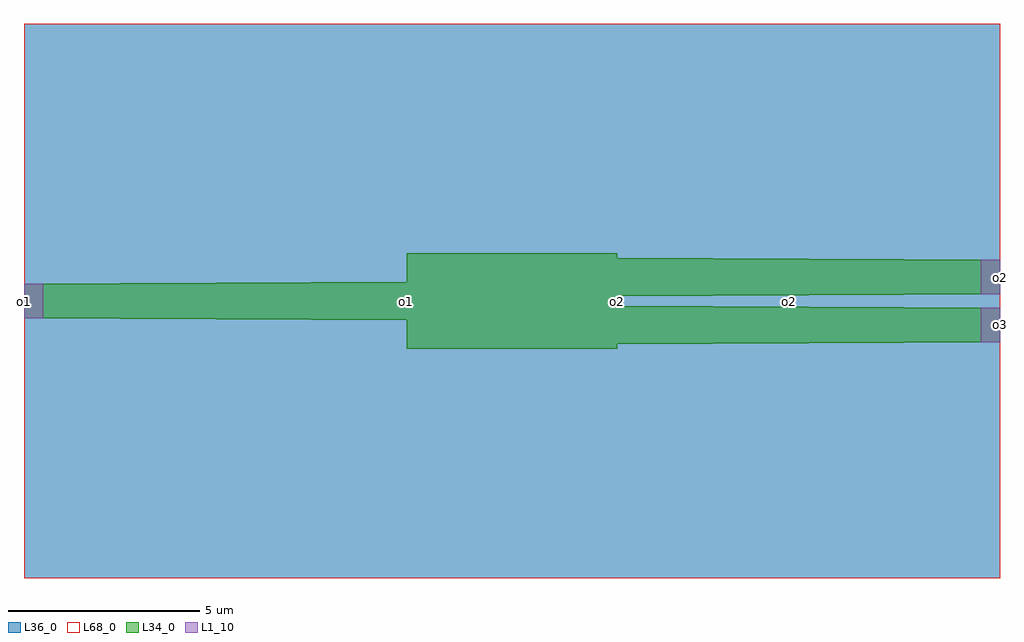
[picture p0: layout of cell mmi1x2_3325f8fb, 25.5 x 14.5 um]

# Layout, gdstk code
import gdstk
lib = gdstk.Library(unit=1e-6, precision=1e-09)
def R(c, l, rs):  # rectangles x0, y0, x1, y1
    for r in rs: c.add(gdstk.rectangle(r[:2], r[2:], *l))
def P(c, l, *ps):  # polygons
    for p in ps: c.add(gdstk.Polygon(p, *l))
L1_10 = (1, 10)
L34_0 = (34, 0)
L36_0 = (36, 0)
L68_0 = (68, 0)

mmi1x2_3325f8fb = lib.new_cell('mmi1x2_3325f8fb')
R(mmi1x2_3325f8fb, L1_10, [(15,-1.075,15.5,-0.175), (-10,-0.45,-9.5,0.45), (15,0.175,15.5,1.075)])
R(mmi1x2_3325f8fb, L34_0, [(0,-1.25,5.5,1.25)])
P(mmi1x2_3325f8fb, L34_0, [(-10,0.45),(0,0.5),(0,-0.5),(-10,-0.45)],
  [(15.5,0.175),(5.5,0.125),(5.5,1.125),(15.5,1.075)],
  [(15.5,-1.075),(5.5,-1.125),(5.5,-0.125),(15.5,-0.175)])
R(mmi1x2_3325f8fb, L36_0, [(-10,-7.25,15.5,7.25), (0,-4.25,5.5,4.25), (5.5,-4.125,15.5,2.875), (-10,-3.5,0,3.5), (5.5,-2.875,15.5,4.125)])
R(mmi1x2_3325f8fb, L68_0, [(-10,-7.25,15.5,7.25)])
mmi1x2_3325f8fb.add(gdstk.Label('o1', (0,0), layer=1, texttype=10))
mmi1x2_3325f8fb.add(gdstk.Label('o2', (10,0), layer=1, texttype=10))
mmi1x2_3325f8fb.add(gdstk.Label('o1', (0,0), layer=1, texttype=10))
mmi1x2_3325f8fb.add(gdstk.Label('o2', (10,0), layer=1, texttype=10))
mmi1x2_3325f8fb.add(gdstk.Label('o1', (0,0), layer=1, texttype=10))
mmi1x2_3325f8fb.add(gdstk.Label('o2', (10,0), layer=1, texttype=10))
mmi1x2_3325f8fb.add(gdstk.Label('o1', (0,0), layer=1, texttype=10))
mmi1x2_3325f8fb.add(gdstk.Label('o2', (5.5,0), layer=1, texttype=10))
mmi1x2_3325f8fb.add(gdstk.Label('o1', (-10,0), layer=1, texttype=10))
mmi1x2_3325f8fb.add(gdstk.Label('o2', (15.5,0.625), layer=1, texttype=10))
mmi1x2_3325f8fb.add(gdstk.Label('o3', (15.5,-0.625), layer=1, texttype=10))

lib.write_gds('mmi1x2_3325f8fb.gds')
